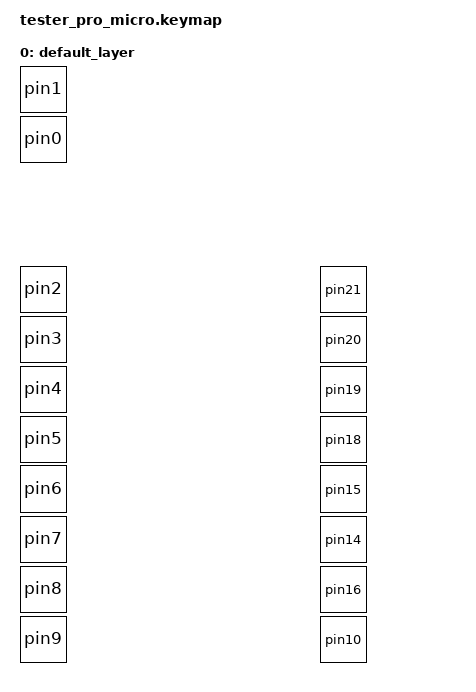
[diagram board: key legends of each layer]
#include <behaviors.dtsi>
#include <dt-bindings/zmk/keys.h>

#define PIN_MACRO(name, pin) \
/ { \
    macros { \
        name: name { \
            compatible = "zmk,behavior-macro"; \
            wait-ms = <5>; \
            tap-ms = <5>; \
            #binding-cells = <0>; \
            bindings = <&kp P &kp I &kp N &kp SPACE>, pin, <&kp ENTER>; \
        }; \
    }; \
};

PIN_MACRO(pin0, <&kp KP_N0>)
PIN_MACRO(pin1, <&kp KP_N1>)
PIN_MACRO(pin2, <&kp KP_N2>)
PIN_MACRO(pin3, <&kp KP_N3>)
PIN_MACRO(pin4, <&kp KP_N4>)
PIN_MACRO(pin5, <&kp KP_N5>)
PIN_MACRO(pin6, <&kp KP_N6>)
PIN_MACRO(pin7, <&kp KP_N7>)
PIN_MACRO(pin8, <&kp KP_N8>)
PIN_MACRO(pin9, <&kp KP_N9>)
PIN_MACRO(pin10, <&kp KP_N1 &kp KP_N0>)
PIN_MACRO(pin14, <&kp KP_N1 &kp KP_N4>)
PIN_MACRO(pin15, <&kp KP_N1 &kp KP_N5>)
PIN_MACRO(pin16, <&kp KP_N1 &kp KP_N6>)
PIN_MACRO(pin18, <&kp KP_N1 &kp KP_N8>)
PIN_MACRO(pin19, <&kp KP_N1 &kp KP_N9>)
PIN_MACRO(pin20, <&kp KP_N2 &kp KP_N0>)
PIN_MACRO(pin21, <&kp KP_N2 &kp KP_N1>)

/ {
    keymap {
        compatible = "zmk,keymap";

        default_layer {
            bindings = <&pin0
                        &pin1
                        &pin2
                        &pin3
                        &pin4
                        &pin5
                        &pin6
                        &pin7
                        &pin8
                        &pin9
                        &pin10
                        &pin14
                        &pin15
                        &pin16
                        &pin18
                        &pin19
                        &pin20
                        &pin21>;
        };
    };
};
